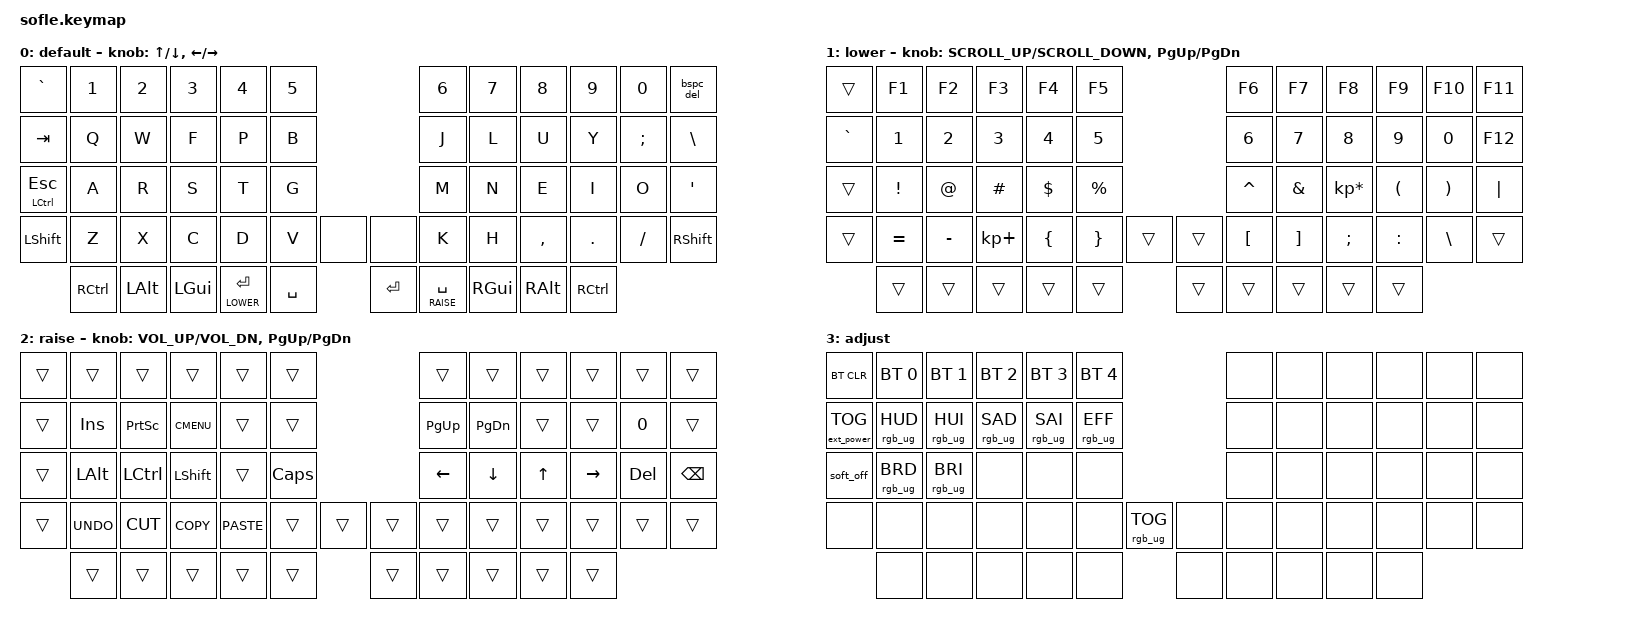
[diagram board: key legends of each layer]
/*
 * Copyright (c) 2020 The ZMK Contributors
 *
 * SPDX-License-Identifier: MIT
 */

#include <behaviors.dtsi>
#include <dt-bindings/zmk/keys.h>
#include <dt-bindings/zmk/bt.h>
#include <dt-bindings/zmk/rgb.h>
#include <dt-bindings/zmk/ext_power.h>
#include <dt-bindings/zmk/mouse.h>

#define BASE 0
#define LOWER 1
#define RAISE 2
#define ADJUST 3

 &soft_off {
   hold-time-ms = <2000>; // Only turn off it the key is held for 5 seconds or longer.
	};

/ {
   // Activate ADJUST layer by pressing raise and lower
	conditional_layers {
		compatible = "zmk,conditional-layers";
		adjust_layer {
			if-layers = <LOWER RAISE>;
			then-layer = <ADJUST>;
		};
	};
  

	behaviors {
      bspc_del: backspace_delete {
          compatible = "zmk,behavior-mod-morph";
          #binding-cells = <0>;
          bindings = <&kp BACKSPACE>, <&kp DELETE>;
          mods = <(MOD_LSFT|MOD_RSFT)>;
          keep-mods = <(MOD_RSFT)>;
      };
	  
  };



	keymap {
		compatible = "zmk,keymap";

		default_layer {
			display-name = "default";
// -----------------------------------------------------------------------------------------
// |   `   |  1  |  2  |  3   |  4   |  5   |                   |  6   |  7    |  8    |  9   |   0   | BSPC/DEL |
// |  TAB  |  Q  |  W  |  E   |  R   |  T   |                   |  Y   |  U    |  I    |  O   |   P   | BKSLH |
// |       |  A  |MT(S)|MT(D) |MT(F) |  MT(G) |        |  H   |  J    |  K    |  L   |   ;   |   '   |
// | SHIFT |  Z  |  X  |  C |  V   |  B   |  MUTE  |  |     	|  N   |  M    |  ,    |  .   |   /   | SHIFT |
//               | GUI | ALT  | CTRL | LT(LOWER) |  ENTER |  | SPC | LT(RAISE) | CTRL  | ALT   | CIRCLE |
bindings = <
&kp GRAVE	&kp N1		&kp N2		&kp N3		&kp N4		&kp N5					&kp N6		&kp N7		&kp N8		&kp N9		&kp N0		&bspc_del
&kp TAB		&kp Q		&kp W		&kp F		&kp P		&kp B					&kp J		&kp L		&kp U		&kp Y		&kp SEMI    &kp BSLH
&mt LCTRL ESC &kp A		&kp R		&kp S		&kp T		&kp G					&kp M		&kp N		&kp E		&kp I		&kp O		&kp SINGLE_QUOTE
&kp LSHFT	&kp Z		&kp X		&kp C		&kp D     	&kp V	&none &none		&kp K		&kp H		&kp COMMA	&kp DOT		&kp FSLH	&kp RSHFT
			&kp RCTL	&kp LALT	&kp LGUI	&lt LOWER RET	&kp SPACE &kp RET	&lt RAISE SPACE	&kp RGUI &kp RALT	&kp RCTRL
			>;
 
			sensor-bindings = <&inc_dec_kp UP DOWN &inc_dec_kp LEFT RIGHT>;
		};

		lower_layer {
			display-name = "lower";
// TODO: Some binds are waiting for shifted keycode support.
// ------------------------------------------------------------------------------------------------------------
// |       |  F1 |  F2 |  F3  |  F4  |  F5  |                   |  F6  |  F7   |  F8   |  F9  |  F10  |  F11  |
// |   `   |  1  |  2  |  3   |  4   |  5   |                   |  6   |  7    |  8    |  9   |   0   |  F12  |
// |       |  !  |  @  |  #   |  $   |  %   |                   |  ^   |  &    |  *    |  (   |   )   |   |   |
// |       |  =  |  -  |  +   |  {   |  }   |        |  |       |  [   |  ]    |  ;    |  :   |   \   |       |
//               |     |      |      |      |        |  |       |      |       |       |      |
bindings = <
&trans    &kp F1    &kp F2    &kp F3      &kp F4    &kp F5                    &kp F6    &kp F7   &kp F8          &kp F9    &kp F10   &kp F11
&kp GRAVE &kp N1    &kp N2    &kp N3      &kp N4    &kp N5                    &kp N6    &kp N7   &kp N8          &kp N9    &kp N0    &kp F12
&trans    &kp EXCL  &kp AT    &kp HASH    &kp DLLR  &kp PRCNT                 &kp CARET &kp AMPS &kp KP_MULTIPLY &kp LPAR  &kp RPAR  &kp PIPE
&trans    &kp EQUAL &kp MINUS &kp KP_PLUS &kp LBRC  &kp RBRC   &trans &trans  &kp LBKT  &kp RBKT &kp SEMI        &kp COLON &kp BSLH  &trans
					&trans    &trans      &trans    &trans     &trans &trans  &trans    &trans   &trans          &trans
			>;

			sensor-bindings = <&inc_dec_kp K_SCROLL_UP K_SCROLL_DOWN &inc_dec_kp PG_UP PG_DN>;
		};

		raise_layer {
			display-name = "raise";
// ------------------------------------------------------------------------------------------------------------
// | BTCLR | BT1  | BT2  |  BT3  |  BT4  |  BT5 |                |      |      |       |      |       |       |
// |       | INS  | PSCR | GUI   |       |      |                | PGUP |      |       |      |       |       |
// |       | ALT  | CTRL | SHIFT |       | CAPS |                |   <- |   v  |   ^   |  ->  |  DEL  | BKSPC |
// |       | UNDO | CUT  | COPY  | PASTE |      |      |  |      |      |      |       |      |       |       |
//                |      |       |       |      |      |  |      |      |      |       |      |
			bindings = <
&trans    &trans    &trans   &trans    &trans  &trans                                         &trans    &trans    &trans   &trans    &trans  &trans
&trans     &kp INS      &kp PSCRN    &kp K_CMENU  &trans       &trans                        &kp PG_UP &kp PG_DN    &trans   &trans    &kp N0  &trans
&trans     &kp LALT     &kp LCTRL    &kp LSHFT    &trans       &kp CLCK                      &kp LEFT  &kp DOWN  &kp UP    &kp RIGHT &kp DEL &kp BSPC
&trans     &kp K_UNDO   &kp K_CUT    &kp K_COPY   &kp K_PASTE  &trans        &trans  &trans  &trans    &trans    &trans   &trans    &trans  &trans
						&trans       &trans       &trans       &trans        &trans  &trans  &trans    &trans    &trans   &trans
			>;

			sensor-bindings = <&inc_dec_kp C_VOL_UP C_VOL_DN &inc_dec_kp PG_UP PG_DN>;
		};

		adjust_layer {
// ----------------------------------------------------------------------------------------------------------------------------
// | BTCLR  |  BT1    |  BT2    |   BT3   |   BT4   |   BT5   |                  |      |      |       |      |       |       |
// | EXTPWR | RGB_HUD | RGB_HUI | RGB_SAD | RGB_SAI | RGB_EFF |                  |      |      |       |      |       |       |
// |        | RGB_BRD | RGB_BRI |         |         |         |                  |      |      |       |      |       |       |
// |        |         |         |         |         |         | RGB_TOG | |      |      |      |       |      |       |       |
//                    |         |         |         |         |         | |      |      |      |       |      |
			display-name = "adjust";
			bindings = <
&bt BT_CLR        &bt BT_SEL 0    &bt BT_SEL 1    &bt BT_SEL 2    &bt BT_SEL 3    &bt BT_SEL 4                            &none &none &none &none &none &none
&ext_power EP_TOG &rgb_ug RGB_HUD &rgb_ug RGB_HUI &rgb_ug RGB_SAD &rgb_ug RGB_SAI &rgb_ug RGB_EFF                         &none &none &none &none &none &none
&soft_off         &rgb_ug RGB_BRD &rgb_ug RGB_BRI &none           &none           &none                                   &none &none &none &none &none &none
&none             &none           &none           &none           &none           &none            &rgb_ug RGB_TOG &none  &none &none &none &none &none &none
								  &none           &none           &none           &none            &none           &none  &none &none &none &none
			>;
		};

	};
};
